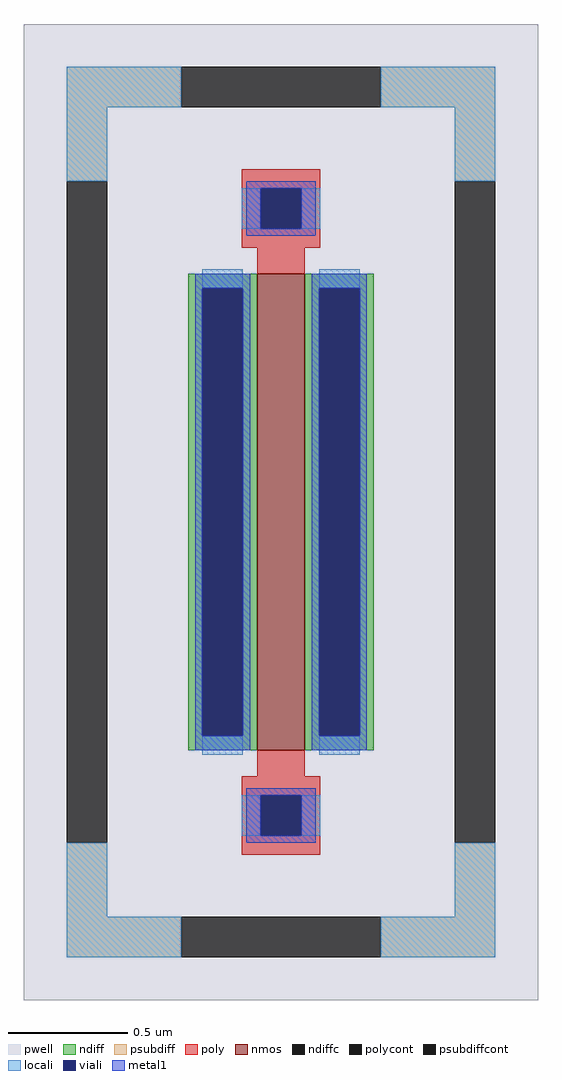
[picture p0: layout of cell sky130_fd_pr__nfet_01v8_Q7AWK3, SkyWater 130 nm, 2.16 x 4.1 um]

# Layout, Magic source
magic
tech sky130A
magscale 1 2
<< pwell >>
rect -216 -410 216 410
<< nmos >>
rect -20 -200 20 200
<< ndiff >>
rect -78 188 -20 200
rect -78 -188 -66 188
rect -32 -188 -20 188
rect -78 -200 -20 -188
rect 20 188 78 200
rect 20 -188 32 188
rect 66 -188 78 188
rect 20 -200 78 -188
<< ndiffc >>
rect -66 -188 -32 188
rect 32 -188 66 188
<< psubdiff >>
rect -180 340 -84 374
rect 84 340 180 374
rect -180 278 -146 340
rect 146 278 180 340
rect -180 -340 -146 -278
rect 146 -340 180 -278
rect -180 -374 -84 -340
rect 84 -374 180 -340
<< psubdiffcont >>
rect -84 340 84 374
rect -180 -278 -146 278
rect 146 -278 180 278
rect -84 -374 84 -340
<< poly >>
rect -33 272 33 288
rect -33 238 -17 272
rect 17 238 33 272
rect -33 222 33 238
rect -20 200 20 222
rect -20 -222 20 -200
rect -33 -238 33 -222
rect -33 -272 -17 -238
rect 17 -272 33 -238
rect -33 -288 33 -272
<< polycont >>
rect -17 238 17 272
rect -17 -272 17 -238
<< locali >>
rect -180 340 -84 374
rect 84 340 180 374
rect -180 278 -146 340
rect 146 278 180 340
rect -33 238 -17 272
rect 17 238 33 272
rect -66 188 -32 204
rect -66 -204 -32 -188
rect 32 188 66 204
rect 32 -204 66 -188
rect -33 -272 -17 -238
rect 17 -272 33 -238
rect -180 -340 -146 -278
rect 146 -340 180 -278
rect -180 -374 -84 -340
rect 84 -374 180 -340
<< viali >>
rect -17 238 17 272
rect -66 -188 -32 188
rect 32 -188 66 188
rect -17 -272 17 -238
<< metal1 >>
rect -29 272 29 278
rect -29 238 -17 272
rect 17 238 29 272
rect -29 232 29 238
rect -72 188 -26 200
rect -72 -188 -66 188
rect -32 -188 -26 188
rect -72 -200 -26 -188
rect 26 188 72 200
rect 26 -188 32 188
rect 66 -188 72 188
rect 26 -200 72 -188
rect -29 -238 29 -232
rect -29 -272 -17 -238
rect 17 -272 29 -238
rect -29 -278 29 -272
<< properties >>
string FIXED_BBOX -163 -357 163 357
string gencell sky130_fd_pr__nfet_01v8
string library sky130
string parameters w 2.0 l 0.2 m 1 nf 1 diffcov 100 polycov 100 guard 1 glc 1 grc 1 gtc 1 gbc 1 tbcov 100 rlcov 100 topc 1 botc 1 poverlap 0 doverlap 1 lmin 0.15 wmin 0.42 compatible {sky130_fd_pr__nfet_01v8 sky130_fd_pr__nfet_01v8_lvt  sky130_fd_bs_flash__special_sonosfet_star  sky130_fd_pr__nfet_g5v0d10v5 sky130_fd_pr__nfet_05v0_nvt  sky130_fd_pr__nfet_03v3_nvt} full_metal 1 viasrc 100 viadrn 100 viagate 100 viagb 0 viagr 0 viagl 0 viagt 0
<< end >>
